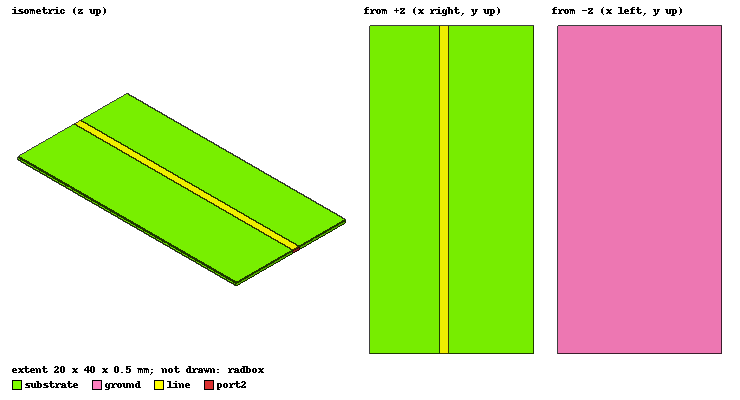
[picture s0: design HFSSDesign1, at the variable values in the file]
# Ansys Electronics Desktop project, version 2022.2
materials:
  vacuum: permittivity=1
  Rogers RO4003 (tm): permittivity=3.55 dielectric_loss_tangent=0.0027
  air: permittivity=1.0006 permeability=1.0000004
  copper: permeability=0.999991 conductivity=58000000

design HFSSDesign1 (HFSS, DrivenModal, model units mm)
options: Calculate_Lossy_Dielectrics Save_Adaptive_support_files
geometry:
  ground = rectangle(corner=(0mm, 0mm, 0mm), x_size=20mm, y_size=40mm)
  substrate [Rogers RO4003 (tm)] = box(corner=(0mm, 0mm, 0mm), size=(20mm, 40mm, 0.5mm))
  line = rectangle(corner=((10-1.5) mm, 0mm, 0.5mm), x_size=1.165mm, y_size=40mm)
  port1 = rectangle(corner=(8.5mm, 0mm, 0.5mm), z_size=-0.5mm, x_size=1.165mm)
  port2 = rectangle(corner=(8.5mm, 40mm, 0.5mm), z_size=-0.5mm, x_size=1.165mm)
  radbox [air] = box(corner=(-10mm, -10mm, -20mm), size=(40mm, 60mm, 40mm))
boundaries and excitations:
  PerfE1: Perfect E Objects=[ground, line]
  Rad1: Radiation Objects=radbox
  1: Lumped Port Objects=port1 Modes{Mode1{IntLine{(9.0825, 0, 0.5) -> (9.0825, 0, 0)} CharImp=Zpi RenormImp=50ohm}} Impedance=50ohm
  2: Lumped Port Objects=port2 Modes{Mode1{IntLine{(9.0825, 40, 0.5) -> (9.0825, 40, 0)} CharImp=Zpi RenormImp=50ohm}} Impedance=50ohm
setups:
  Setup1: HfssDriven Frequency=2.4GHz MaxDeltaS=0.02 MaximumPasses=6 MinimumPasses=1 MinimumConvergedPasses=1 PercentRefinement=30 BasisOrder=1 PortAccuracy=2 DrivenSolverType="Direct Solver"
    sweep Sweep: 1GHz to 20GHz step 0.1GHz; Type=Fast SaveFields
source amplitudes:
  1:1: 1 0deg
  2:1: 0W 0deg
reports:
  XY Plot 1: dB(S(1,1)), dB(S(1,2)), dB(S(2,1)), dB(S(2,2)) vs Freq on Setup1 : Sweep
  XY Plot 2: VSWR(1), VSWR(2) vs Freq on Setup1 : Sweep
  3D Rectangular Plot 1: dB(S(1,1)), dB(S(1,2)), dB(S(2,1)), dB(S(2,2)) vs Freq, Freq on Setup1 : Sweep
  XY Plot 4: re(Zo(1)), re(Zo(2)) vs Freq on Setup1 : Sweep
  XY Plot 5: im(Z(1,1)), im(Z(1,2)), im(Z(2,1)), im(Z(2,2)) vs Freq on Setup1 : Sweep
  XY Plot 6: im(ActiveZ(1:1)), im(ActiveZ(2:1)) vs Freq on Setup1 : Sweep
  Data Table 1: im(ActiveZ(1:1)), im(ActiveZ(2:1)) vs Freq on Setup1 : Sweep
  Data Table 2: re(Z(1,1)), re(Z(1,2)), re(Z(2,1)), re(Z(2,2)) vs Freq on Setup1 : Sweep
  Data Table 3: im(Z(1,1)), im(Z(1,2)), im(Z(2,1)), im(Z(2,2)) vs Freq on Setup1 : Sweep
  Data Table 4: dB(ActiveS(1:1)), dB(ActiveS(2:1)) vs Freq on Setup1 : Sweep
